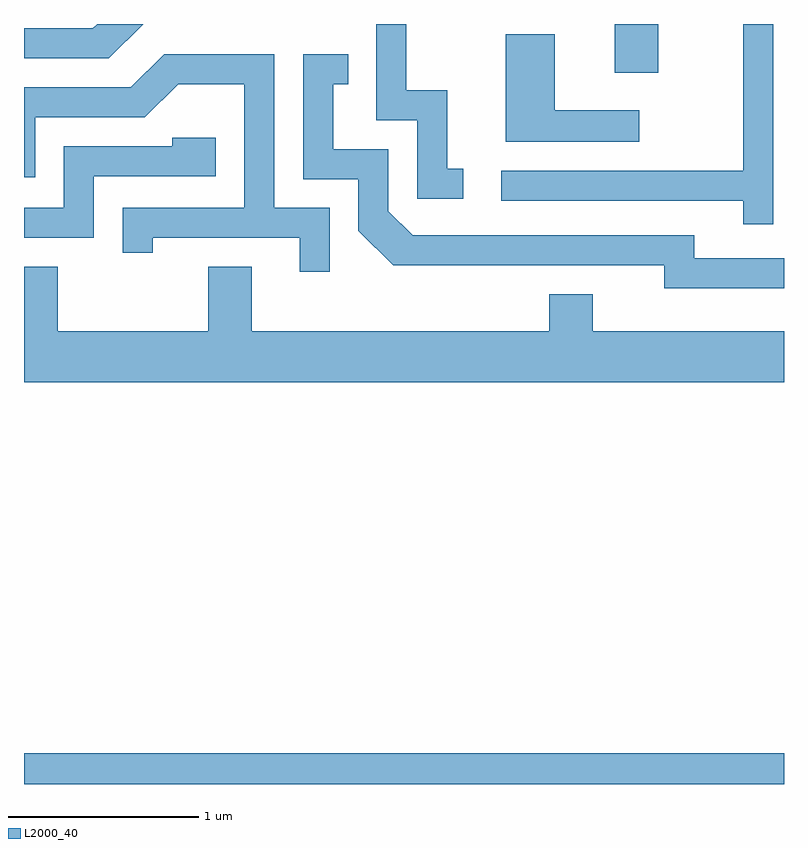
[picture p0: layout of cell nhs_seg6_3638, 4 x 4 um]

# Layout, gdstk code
import gdstk
lib = gdstk.Library(unit=1e-6, precision=1e-09)
def R(c, l, rs):  # rectangles x0, y0, x1, y1
    for r in rs: c.add(gdstk.rectangle(r[:2], r[2:], *l))
def P(c, l, *ps):  # polygons
    for p in ps: c.add(gdstk.Polygon(p, *l))
L2000_40 = (2000, 40)

nhs_seg6_3638 = lib.new_cell('nhs_seg6_3638')
R(nhs_seg6_3638, L2000_40, [(295.611,1530.162,299.611,1530.324), (298.721,1533.906,298.949,1534.162)])
P(nhs_seg6_3638, L2000_40, [(296.238,1534.162),(295.997,1534.162),(295.974,1534.139),(295.611,1534.139),(295.611,1533.981),(296.057,1533.981)],
  [(297.923,1533.399),(297.839,1533.399),(297.839,1533.814),(297.624,1533.814),(297.624,1534.162),(297.466,1534.162),(297.466,1533.656),(297.681,1533.656),(297.681,1533.241),(297.923,1533.241)],
  [(299.554,1534.162),(299.396,1534.162),(299.396,1533.389),(298.123,1533.389),(298.123,1533.231),(299.396,1533.231),(299.396,1533.108),(299.554,1533.108)],
  [(298.848,1533.709),(298.404,1533.709),(298.404,1534.109),(298.146,1534.109),(298.146,1533.541),(298.848,1533.541)],
  [(297.219,1533.194),(296.929,1533.194),(296.929,1534.004),(296.349,1534.004),(296.174,1533.829),(295.611,1533.829),(295.611,1533.356),(295.669,1533.356),(295.669,1533.671),(296.247,1533.671),(296.422,1533.846),(296.771,1533.846),(296.771,1533.194),(296.131,1533.194),(296.131,1532.958),(296.289,1532.958),(296.289,1533.036),(297.061,1533.036),(297.061,1532.858),(297.219,1532.858)],
  [(299.611,1532.929),(299.139,1532.929),(299.139,1533.049),(297.657,1533.049),(297.529,1533.177),(297.529,1533.504),(297.239,1533.504),(297.239,1533.846),(297.318,1533.846),(297.318,1534.004),(297.081,1534.004),(297.081,1533.346),(297.371,1533.346),(297.371,1533.074),(297.554,1532.891),(298.981,1532.891),(298.981,1532.771),(299.611,1532.771)],
  [(295.979,1533.361),(296.619,1533.361),(296.619,1533.564),(296.391,1533.564),(296.391,1533.519),(295.821,1533.519),(295.821,1533.194),(295.611,1533.194),(295.611,1533.036),(295.979,1533.036)],
  [(299.611,1532.544),(298.604,1532.544),(298.604,1532.739),(298.376,1532.739),(298.376,1532.544),(296.809,1532.544),(296.809,1532.884),(296.581,1532.884),(296.581,1532.544),(295.789,1532.544),(295.789,1532.884),(295.611,1532.884),(295.611,1532.276),(299.611,1532.276)])

lib.write_gds('nhs_seg6_3638.gds')
